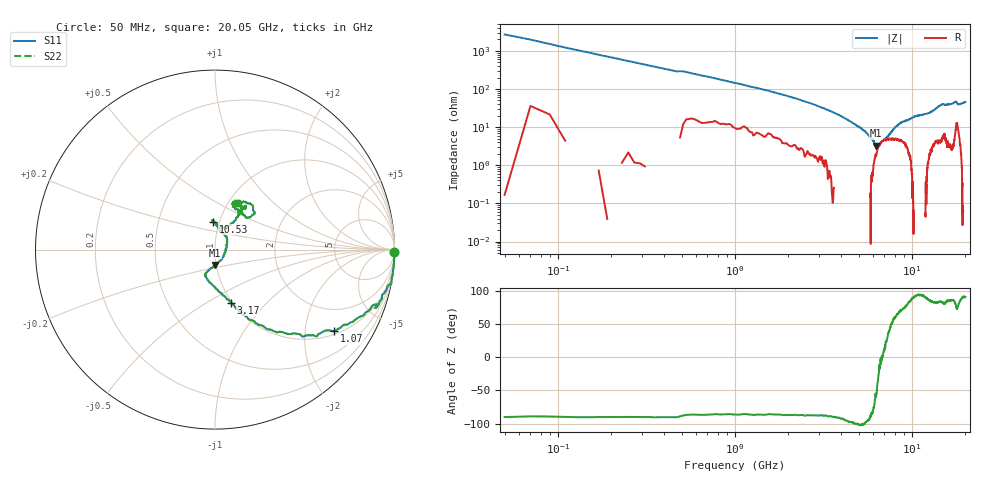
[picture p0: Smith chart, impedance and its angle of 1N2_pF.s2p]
! 500R07S1R2BV4
! Data taken April 11, 2003
! Data taken on a HP 8720C VNA using a series-through test fixture and TRL* de-embedding
#	mhz	s	ma	r	50
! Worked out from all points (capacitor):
!   1001 points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, 50 MHz to 20.05 GHz, reference 50 ohm
!   read as one part in series: C = 1.18 pF near 150 MHz
!   lowest |Z| = 3.27 ohm at 6.29 GHz (marker M1)
!   series resonance near 6.745 GHz, so ESL is about 470 pH
!   S11 on the Smith chart (normalised r, x): 50 MHz: open; 1.07 GHz: 1.11, -2.85; 3.17 GHz: 0.98, -0.64; 10.53 GHz: 0.94, +0.30; 20.05 GHz: 1.10, +0.62
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50  1 -0.8  0.0372 89.2  0.0372 89.2  1 -0.8
210  0.9969 -9.1  0.1551 80.9  0.1551 80.9  0.9969 -9.1
370  0.9697 -16.2  0.266 73.9  0.266 73.9  0.9697 -16.2
690  0.9073 -23.4  0.425 62.7  0.425 62.7  0.9073 -23.4
1070  0.8048 -34.3  0.5934 51.1  0.5934 51.1  0.8048 -34.3
2030  0.534 -56.2  0.8269 30.4  0.8269 30.4  0.534 -56.2
3170  0.3082 -73.6  0.9257 16.1  0.9257 16.1  0.3082 -73.6
3390  0.279 -77.0  0.9405 14.2  0.9405 14.2  0.279 -77.0
4870  0.1582 -109.3  0.9651 4.5  0.9651 4.5  0.1582 -109.3
6290  0.08572 -91.2  0.9633 -1.9  0.9633 -1.9  0.08572 -91.2
6730  0.06772 -61.8  0.9546 -3.3  0.9546 -3.3  0.06772 -61.8
7590  0.0603 -0.7  0.9662 -5.6  0.9662 -5.6  0.0603 -0.7
8450  0.08794 40.8  0.9711 -8.8  0.9711 -8.8  0.08794 40.8
10050  0.1308 85.5  0.9695 -12.5  0.9695 -12.5  0.1308 85.5
10530  0.156 93.3  0.9591 -14.0  0.9591 -14.0  0.156 93.3
12450  0.128 72.3  0.9579 -19.5  0.9579 -19.5  0.128 72.3
13390  0.1761 57.5  0.9473 -21.9  0.9473 -21.9  0.1761 57.5
14850  0.2927 55.6  0.9041 -25.6  0.9041 -25.6  0.2927 55.6
16730  0.2899 63.1  0.8949 -27.3  0.8949 -27.3  0.2899 63.1
17830  0.3035 43.5  0.8349 -28.7  0.8349 -28.7  0.3035 43.5
18230  0.2498 45.6  0.8797 -27.5  0.8797 -27.5  0.2498 45.6
20050  0.2867 64.8  0.8953 -35.3  0.8953 -35.3  0.2867 64.8
